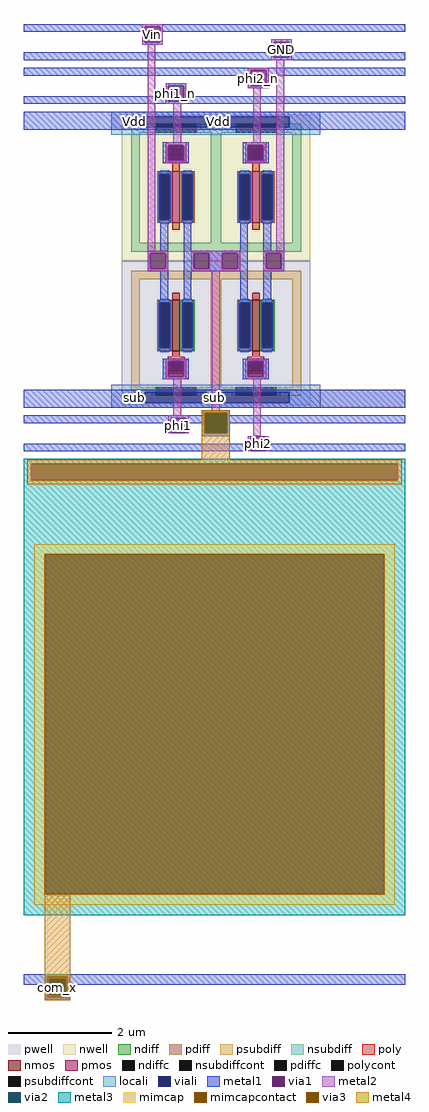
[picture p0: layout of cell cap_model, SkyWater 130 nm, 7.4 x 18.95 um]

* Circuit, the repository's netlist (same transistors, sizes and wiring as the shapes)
* SPICE3 file created from cap_model.ext - technology: sky130A

X0 m1_990_n540# phi2 GND sub sky130_fd_pr__nfet_01v8 ad=0.29 pd=2.58 as=0.29 ps=2.58 w=1 l=0.15
X1 m1_990_n540# phi2_n GND Vdd sky130_fd_pr__pfet_01v8 ad=0.29 pd=2.58 as=0.29 ps=2.58 w=1 l=0.15
X2 m1_990_n540# phi1_n Vin Vdd sky130_fd_pr__pfet_01v8 ad=0.29 pd=2.58 as=0.29 ps=2.58 w=1 l=0.15
X3 m1_990_n540# phi1 Vin sub sky130_fd_pr__nfet_01v8 ad=0.29 pd=2.58 as=0.29 ps=2.58 w=1 l=0.15
X4 com_x m1_990_n540# sky130_fd_pr__cap_mim_m3_1 l=7 w=7

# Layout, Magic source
magic
tech sky130A
magscale 1 2
<< pwell >>
rect 1140 -930 1160 -890
rect 1520 -950 1850 -880
<< locali >>
rect 710 180 1520 200
rect 710 140 840 180
rect 1080 140 1160 180
rect 1400 140 1520 180
rect 710 110 1520 140
rect 710 -890 1520 -860
rect 710 -930 840 -890
rect 1080 -930 1140 -890
rect 1400 -930 1520 -890
rect 710 -950 1520 -930
<< viali >>
rect 840 140 1080 180
rect 1160 140 1400 180
rect 840 -930 1080 -890
rect 1140 -930 1400 -890
<< metal1 >>
rect 370 530 1850 540
rect 370 510 840 530
rect 830 470 840 510
rect 900 510 1850 530
rect 900 470 910 510
rect 830 460 910 470
rect 1330 470 1410 480
rect 1330 430 1340 470
rect 370 410 1340 430
rect 1400 430 1410 470
rect 1400 410 1850 430
rect 370 400 1850 410
rect 370 360 1850 370
rect 370 340 1250 360
rect 920 300 1000 310
rect 920 260 930 300
rect 370 240 930 260
rect 990 260 1000 300
rect 1240 300 1250 340
rect 1310 340 1850 360
rect 1310 300 1320 340
rect 1240 290 1320 300
rect 990 240 1850 260
rect 370 230 1850 240
rect 370 180 1850 200
rect 370 140 840 180
rect 1080 140 1160 180
rect 1400 140 1850 180
rect 370 130 1850 140
rect 910 70 1010 80
rect 910 10 930 70
rect 990 10 1010 70
rect 910 0 1010 10
rect 1220 70 1320 80
rect 1220 10 1240 70
rect 1300 10 1320 70
rect 1220 0 1320 10
rect 900 -340 930 -220
rect 850 -350 930 -340
rect 850 -410 860 -350
rect 920 -410 930 -350
rect 850 -420 930 -410
rect 900 -540 930 -420
rect 990 -340 1020 -220
rect 1210 -340 1240 -220
rect 990 -350 1240 -340
rect 990 -410 1030 -350
rect 1090 -410 1140 -350
rect 1200 -410 1240 -350
rect 990 -420 1240 -410
rect 990 -540 1020 -420
rect 1210 -540 1240 -420
rect 1300 -340 1330 -220
rect 1300 -350 1380 -340
rect 1300 -410 1310 -350
rect 1370 -410 1380 -350
rect 1300 -420 1380 -410
rect 1300 -540 1330 -420
rect 910 -770 1010 -760
rect 910 -830 930 -770
rect 990 -830 1010 -770
rect 910 -840 1010 -830
rect 1220 -770 1320 -760
rect 1220 -830 1240 -770
rect 1300 -830 1320 -770
rect 1220 -840 1320 -830
rect 370 -890 1850 -880
rect 370 -930 840 -890
rect 1080 -930 1140 -890
rect 1400 -930 1850 -890
rect 370 -950 1850 -930
rect 370 -990 1850 -980
rect 370 -1010 940 -990
rect 930 -1050 940 -1010
rect 1000 -1010 1850 -990
rect 1000 -1050 1010 -1010
rect 1240 -1090 1250 -1060
rect 370 -1120 1250 -1090
rect 1310 -1090 1320 -1060
rect 1310 -1120 1850 -1090
rect 370 -3170 1850 -3150
rect 370 -3190 470 -3170
rect 450 -3230 470 -3190
rect 530 -3190 1850 -3170
rect 530 -3230 550 -3190
rect 450 -3250 550 -3230
<< via1 >>
rect 840 470 900 530
rect 1340 410 1400 470
rect 930 240 990 300
rect 1250 300 1310 360
rect 930 10 990 70
rect 1240 10 1300 70
rect 860 -410 920 -350
rect 1030 -410 1090 -350
rect 1140 -410 1200 -350
rect 1310 -410 1370 -350
rect 930 -830 990 -770
rect 1240 -830 1300 -770
rect 940 -1050 1000 -990
rect 1250 -1120 1310 -1060
rect 470 -3230 530 -3170
<< metal2 >>
rect 830 530 910 540
rect 830 470 840 530
rect 900 470 910 530
rect 830 460 910 470
rect 1330 470 1410 480
rect 850 -340 880 460
rect 1330 410 1340 470
rect 1400 410 1410 470
rect 1330 400 1410 410
rect 1240 360 1320 370
rect 920 300 1000 310
rect 920 240 930 300
rect 990 240 1000 300
rect 1240 300 1250 360
rect 1310 300 1320 360
rect 1240 290 1320 300
rect 920 230 1000 240
rect 950 80 980 230
rect 1260 80 1290 290
rect 920 70 1000 80
rect 920 10 930 70
rect 990 10 1000 70
rect 920 0 1000 10
rect 1230 70 1310 80
rect 1230 10 1240 70
rect 1300 10 1310 70
rect 1230 0 1310 10
rect 1350 -340 1380 400
rect 850 -350 930 -340
rect 850 -410 860 -350
rect 920 -410 930 -350
rect 850 -420 930 -410
rect 1020 -350 1210 -340
rect 1020 -410 1030 -350
rect 1090 -410 1140 -350
rect 1200 -410 1210 -350
rect 1020 -420 1210 -410
rect 1300 -350 1380 -340
rect 1300 -410 1310 -350
rect 1370 -410 1380 -350
rect 1300 -420 1380 -410
rect 920 -770 1000 -760
rect 920 -830 930 -770
rect 990 -830 1000 -770
rect 920 -840 1000 -830
rect 950 -980 980 -840
rect 1100 -960 1130 -420
rect 1230 -770 1310 -760
rect 1230 -830 1240 -770
rect 1300 -830 1310 -770
rect 1230 -840 1310 -830
rect 1060 -970 1170 -960
rect 930 -990 1010 -980
rect 930 -1050 940 -990
rect 1000 -1050 1010 -990
rect 1060 -1050 1070 -970
rect 1160 -1050 1170 -970
rect 1060 -1060 1170 -1050
rect 1260 -1060 1290 -840
rect 1240 -1120 1250 -1060
rect 1310 -1120 1320 -1060
rect 450 -3170 550 -3150
rect 450 -3230 470 -3170
rect 530 -3230 550 -3170
rect 450 -3250 550 -3230
<< via2 >>
rect 1070 -1050 1160 -970
rect 470 -3230 530 -3170
<< metal3 >>
rect 1060 -970 1170 -960
rect 1060 -1050 1070 -970
rect 1160 -1050 1170 -970
rect 1060 -1060 1170 -1050
rect 450 -3160 550 -3150
rect 450 -3240 460 -3160
rect 540 -3240 550 -3160
rect 450 -3250 550 -3240
<< via3 >>
rect 1070 -1050 1160 -970
rect 460 -3170 540 -3160
rect 460 -3230 470 -3170
rect 470 -3230 530 -3170
rect 530 -3230 540 -3170
rect 460 -3240 540 -3230
<< metal4 >>
rect 1060 -970 1170 -960
rect 1060 -1050 1070 -970
rect 1160 -1050 1170 -970
rect 1060 -1160 1170 -1050
rect 450 -3160 550 -2840
rect 450 -3240 460 -3160
rect 540 -3240 550 -3160
rect 450 -3250 550 -3240
use sky130_fd_pr__cap_mim_m3_1_BZXSER  sky130_fd_pr__cap_mim_m3_1_BZXSER_0
transform 0 -1 1110 1 0 -2034
box -886 -740 886 740
use sky130_fd_pr__nfet_01v8_5WU4M2  sky130_fd_pr__nfet_01v8_5WU4M2_0
transform -1 0 1271 0 -1 -661
box -211 -279 211 279
use sky130_fd_pr__pfet_01v8_QKK3FL  sky130_fd_pr__pfet_01v8_QKK3FL_0
transform -1 0 1271 0 -1 -96
box -211 -284 211 284
use sky130_fd_pr__pfet_01v8_NKK3FE  XM1
transform 1 0 961 0 1 -96
box -211 -284 211 284
use sky130_fd_pr__nfet_01v8_5WP7M2  XM2
transform 1 0 961 0 1 -661
box -211 -279 211 279
<< labels >>
flabel metal1 770 -940 830 -880 0 FreeSans 256 0 0 0 sub
port 6 nsew
flabel metal1 1080 -940 1140 -880 0 FreeSans 256 0 0 0 sub
port 1 nsew
flabel via1 840 470 900 530 0 FreeSans 256 0 0 0 Vin
port 5 nsew
flabel via1 1340 410 1400 470 0 FreeSans 256 0 0 0 GND
port 9 nsew
flabel via1 930 240 990 300 0 FreeSans 256 0 0 0 phi1_n
port 4 nsew
flabel via1 1250 300 1310 360 0 FreeSans 256 0 0 0 phi2_n
port 10 nsew
flabel via1 1250 -1120 1310 -1060 0 FreeSans 256 0 0 0 phi2
port 8 nsew
flabel via1 940 -1050 1000 -990 0 FreeSans 256 0 0 0 phi1
port 2 nsew
flabel metal1 770 130 830 190 0 FreeSans 256 0 0 0 Vdd
port 3 nsew
flabel metal1 1100 130 1150 190 0 FreeSans 256 0 0 0 Vdd
port 7 nsew
flabel via1 470 -3230 530 -3170 0 FreeSans 256 0 0 0 com_x
port 0 nsew
<< end >>

# cell sky130_fd_pr__cap_mim_m3_1_BZXSER: kit device sky130_fd_pr__cap_mim_m3_1, w 7.00 l 7.00 val 103.32 carea 2.00 cperi 0.19 nx 1 ny 1 dummy 0 square 0 lmin 2.00 wmin 2.00 lmax 30.0 wmax 30.0 dc 0 bconnect 1 tconnect 1 ccov 100

# cell sky130_fd_pr__nfet_01v8_5WU4M2: kit device sky130_fd_pr__nfet_01v8, w 1.0 l 0.15 m 1 nf 1 diffcov 100 polycov 100 guard 1 glc 0 grc 0 gtc 1 gbc 0 tbcov 100 rlcov 100 topc 1 botc 0 poverlap 0 doverlap 1 lmin 0.15 wmin 0.42 compatible {sky130_fd_pr__nfet_01v8 sky130_fd_pr__nfet_01v8_lvt sky130_fd_bs_flash__special_sonosfet_star sky130_fd_pr__nfet_g5v0d10v5 sky130_fd_pr__nfet_05v0_nvt sky130_fd_pr__nfet_03v3_nvt} full_metal 0 viasrc 100 viadrn 100 viagate 100 viagb 0 viagr 0 viagl 0 viagt 0

# cell sky130_fd_pr__pfet_01v8_QKK3FL: kit device sky130_fd_pr__pfet_01v8, w 1.0 l 0.15 m 1 nf 1 diffcov 100 polycov 100 guard 1 glc 0 grc 0 gtc 0 gbc 1 tbcov 100 rlcov 100 topc 0 botc 1 poverlap 0 doverlap 1 lmin 0.15 wmin 0.42 compatible {sky130_fd_pr__pfet_01v8 sky130_fd_pr__pfet_01v8_lvt sky130_fd_pr__pfet_01v8_hvt sky130_fd_pr__pfet_g5v0d10v5} full_metal 0 viasrc 100 viadrn 100 viagate 100 viagb 0 viagr 0 viagl 0 viagt 0

# cell sky130_fd_pr__pfet_01v8_NKK3FE: kit device sky130_fd_pr__pfet_01v8, w 1.0 l 0.15 m 1 nf 1 diffcov 100 polycov 100 guard 1 glc 0 grc 0 gtc 1 gbc 0 tbcov 100 rlcov 100 topc 1 botc 0 poverlap 0 doverlap 1 lmin 0.15 wmin 0.42 compatible {sky130_fd_pr__pfet_01v8 sky130_fd_pr__pfet_01v8_lvt sky130_fd_pr__pfet_01v8_hvt sky130_fd_pr__pfet_g5v0d10v5} full_metal 0 viasrc 100 viadrn 100 viagate 100 viagb 0 viagr 0 viagl 0 viagt 0

# cell sky130_fd_pr__nfet_01v8_5WP7M2: kit device sky130_fd_pr__nfet_01v8, w 1.0 l 0.15 m 1 nf 1 diffcov 100 polycov 100 guard 1 glc 0 grc 0 gtc 0 gbc 1 tbcov 100 rlcov 100 topc 0 botc 1 poverlap 0 doverlap 1 lmin 0.15 wmin 0.42 compatible {sky130_fd_pr__nfet_01v8 sky130_fd_pr__nfet_01v8_lvt sky130_fd_bs_flash__special_sonosfet_star sky130_fd_pr__nfet_g5v0d10v5 sky130_fd_pr__nfet_05v0_nvt sky130_fd_pr__nfet_03v3_nvt} full_metal 0 viasrc 100 viadrn 100 viagate 100 viagb 0 viagr 0 viagl 0 viagt 0
